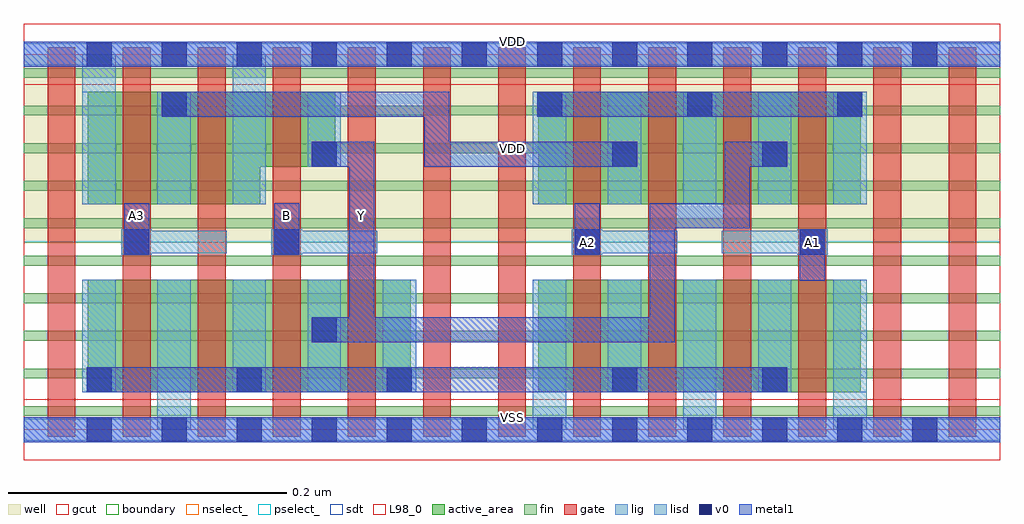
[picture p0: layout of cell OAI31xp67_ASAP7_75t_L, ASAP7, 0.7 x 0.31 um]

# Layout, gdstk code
import gdstk
lib = gdstk.Library(unit=1e-6, precision=2.5e-10)
def R(c, l, rs):  # rectangles x0, y0, x1, y1
    for r in rs: c.add(gdstk.rectangle(r[:2], r[2:], *l))
def A(c, l, x, y, w, h, nx, ny, dx, dy):  # array of equal rectangles
    R(c, l, [(x+i*dx, y+j*dy, x+i*dx+w, y+j*dy+h) for i in range(nx) for j in range(ny)])
def P(c, l, *ps):  # polygons
    for p in ps: c.add(gdstk.Polygon(p, *l))
well = (1, 0)
fin = (2, 0)
gate = (7, 0)
gcut = (10, 0)
active_area = (11, 0)
nselect_ = (12, 0)
pselect_ = (13, 0)
lig = (16, 0)
lisd = (17, 0)
v0 = (18, 0)
metal1 = (19, 0)
sdt = (88, 0)
L98_0 = (98, 0)
boundary = (100, 0)

oai31xp67_asap7_75t_l = lib.new_cell('OAI31xp67_ASAP7_75t_L')
R(oai31xp67_asap7_75t_l, well, [(0,0.135,0.702,0.27)])
A(oai31xp67_asap7_75t_l, fin, 0, 0.01, 0.702, 0.007, 1, 10, 0, 0.027)
A(oai31xp67_asap7_75t_l, gate, 0.017, -0.005, 0.02, 0.28, 13, 1, 0.054, 0)
R(oai31xp67_asap7_75t_l, gcut, [(0,-0.022,0.702,0.022), (0,0.248,0.702,0.292)])
R(oai31xp67_asap7_75t_l, active_area, [(0.046,0.027,0.278,0.108), (0.37,0.027,0.602,0.108), (0.37,0.162,0.602,0.243)])
P(oai31xp67_asap7_75t_l, active_area, [(0.046,0.162),(0.17,0.162),(0.17,0.189),(0.224,0.189),(0.224,0.243),(0.046,0.243)])
R(oai31xp67_asap7_75t_l, nselect_, [(0,0,0.702,0.135)])
R(oai31xp67_asap7_75t_l, pselect_, [(0,0.135,0.702,0.27)])
R(oai31xp67_asap7_75t_l, lig, [(0,-0.008,0.702,0.008), (0.07,0.126,0.092,0.144), (0.178,0.126,0.2,0.144), (0.394,0.126,0.416,0.144), (0.556,0.126,0.578,0.144), (0.07,0.127,0.146,0.143), (0.178,0.127,0.254,0.143), (0.394,0.127,0.47,0.143), (0.502,0.127,0.578,0.143), (0,0.262,0.702,0.278)])
A(oai31xp67_asap7_75t_l, lisd, 0.15, 0.027, 0.024, 0.081, 3, 1, 0.054, 0)
A(oai31xp67_asap7_75t_l, lisd, 0.366, 0.162, 0.024, 0.081, 5, 1, 0.054, 0)
R(oai31xp67_asap7_75t_l, lisd, [(0.096,0,0.12,0.108), (0.096,0,0.12,0.108), (0.366,0,0.39,0.108), (0.366,0,0.39,0.108), (0.474,0,0.498,0.108), (0.474,0,0.498,0.108), (0.582,0,0.606,0.108), (0.582,0,0.606,0.108), (0.042,0.027,0.066,0.108), (0.42,0.027,0.444,0.108), (0.528,0.027,0.552,0.108), (0.042,0.162,0.066,0.27), (0.042,0.162,0.066,0.27), (0.096,0.162,0.12,0.243), (0.15,0.162,0.174,0.27), (0.15,0.162,0.174,0.27), (0.204,0.189,0.228,0.243)])
A(oai31xp67_asap7_75t_l, v0, 0.045, -0.009, 0.018, 0.018, 12, 2, 0.054, 0.27)
A(oai31xp67_asap7_75t_l, v0, 0.045, 0.027, 0.018, 0.018, 3, 1, 0.108, 0)
A(oai31xp67_asap7_75t_l, v0, 0.369, 0.225, 0.018, 0.018, 3, 1, 0.108, 0)
R(oai31xp67_asap7_75t_l, v0, [(0.423,0.027,0.441,0.045), (0.531,0.027,0.549,0.045), (0.207,0.063,0.225,0.081), (0.072,0.126,0.09,0.144), (0.18,0.126,0.198,0.144), (0.396,0.126,0.414,0.144), (0.558,0.126,0.576,0.144), (0.207,0.189,0.225,0.207), (0.423,0.189,0.441,0.207), (0.531,0.189,0.549,0.207), (0.099,0.225,0.117,0.243)])
A(oai31xp67_asap7_75t_l, metal1, 0.045, 0.027, 0.018, 0.018, 3, 1, 0.108, 0)
A(oai31xp67_asap7_75t_l, metal1, 0.369, 0.225, 0.018, 0.018, 3, 1, 0.108, 0)
R(oai31xp67_asap7_75t_l, metal1, [(0,-0.009,0.702,0.009), (0.045,0.027,0.549,0.045), (0.423,0.027,0.441,0.045), (0.531,0.027,0.549,0.045), (0.207,0.063,0.225,0.081), (0.558,0.107,0.576,0.144), (0.072,0.126,0.09,0.144), (0.072,0.126,0.09,0.163), (0.18,0.126,0.198,0.144), (0.18,0.126,0.198,0.163), (0.396,0.126,0.414,0.144), (0.396,0.126,0.414,0.163), (0.558,0.126,0.576,0.144), (0.207,0.189,0.225,0.207), (0.423,0.189,0.441,0.207), (0.531,0.189,0.549,0.207), (0.099,0.225,0.117,0.243), (0.369,0.225,0.603,0.243), (0,0.261,0.702,0.279)])
P(oai31xp67_asap7_75t_l, metal1, [(0.306,0.243),(0.099,0.243),(0.099,0.225),(0.288,0.225),(0.288,0.189),(0.441,0.189),(0.441,0.207),(0.306,0.207)],
  [(0.468,0.145),(0.522,0.145),(0.522,0.189),(0.549,0.189),(0.549,0.207),(0.504,0.207),(0.504,0.163),(0.45,0.163),(0.45,0.081),(0.252,0.081),(0.252,0.207),(0.207,0.207),(0.207,0.189),(0.234,0.189),(0.234,0.081),(0.207,0.081),(0.207,0.063),(0.468,0.063)])
A(oai31xp67_asap7_75t_l, sdt, 0.096, 0.027, 0.024, 0.081, 4, 1, 0.054, 0)
A(oai31xp67_asap7_75t_l, sdt, 0.366, 0.027, 0.024, 0.081, 3, 1, 0.054, 0)
A(oai31xp67_asap7_75t_l, sdt, 0.474, 0.027, 0.024, 0.081, 3, 1, 0.054, 0)
A(oai31xp67_asap7_75t_l, sdt, 0.042, 0.162, 0.024, 0.081, 3, 1, 0.054, 0)
A(oai31xp67_asap7_75t_l, sdt, 0.366, 0.162, 0.024, 0.081, 5, 1, 0.054, 0)
R(oai31xp67_asap7_75t_l, sdt, [(0.042,0.027,0.066,0.108), (0.096,0.027,0.12,0.108), (0.366,0.027,0.39,0.108), (0.582,0.027,0.606,0.108), (0.042,0.162,0.066,0.243), (0.15,0.162,0.174,0.243), (0.204,0.189,0.228,0.243)])
R(oai31xp67_asap7_75t_l, L98_0, [(0,0,0.702,0.27)])
R(oai31xp67_asap7_75t_l, boundary, [(0,0,0.702,0.27)])
oai31xp67_asap7_75t_l.add(gdstk.Label('VDD', (0.351,0.2025), layer=1, texttype=251))
oai31xp67_asap7_75t_l.add(gdstk.Label('VSS', (0.351,-0.0675), layer=3, texttype=251))
oai31xp67_asap7_75t_l.add(gdstk.Label('VSS', (0.351,0.009), layer=19, texttype=251))
oai31xp67_asap7_75t_l.add(gdstk.Label('VDD', (0.351,0.279), layer=19, texttype=251))
oai31xp67_asap7_75t_l.add(gdstk.Label('A3', (0.081,0.154), layer=19, texttype=251))
oai31xp67_asap7_75t_l.add(gdstk.Label('Y', (0.243,0.154), layer=19, texttype=251))
oai31xp67_asap7_75t_l.add(gdstk.Label('B', (0.189,0.154), layer=19, texttype=251))
oai31xp67_asap7_75t_l.add(gdstk.Label('A2', (0.405,0.135), layer=19, texttype=251))
oai31xp67_asap7_75t_l.add(gdstk.Label('A1', (0.567,0.135), layer=19, texttype=251))

lib.write_gds('OAI31xp67_ASAP7_75t_L.gds')
